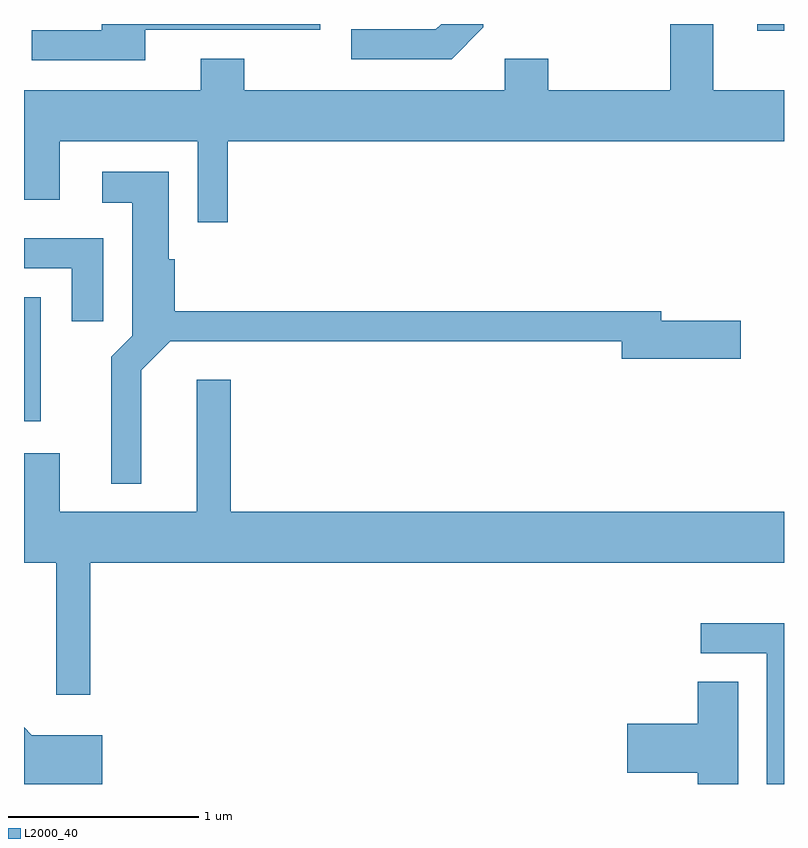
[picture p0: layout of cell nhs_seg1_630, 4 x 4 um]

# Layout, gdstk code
import gdstk
lib = gdstk.Library(unit=1e-6, precision=1e-09)
def R(c, l, rs):  # rectangles x0, y0, x1, y1
    for r in rs: c.add(gdstk.rectangle(r[:2], r[2:], *l))
def P(c, l, *ps):  # polygons
    for p in ps: c.add(gdstk.Polygon(p, *l))
L2000_40 = (2000, 40)

nhs_seg1_630 = lib.new_cell('nhs_seg1_630')
R(nhs_seg1_630, L2000_40, [(203.611,933.621,203.699,934.274), (207.471,935.676,207.611,935.712)])
P(nhs_seg1_630, L2000_40, [(204.684,935.096),(207.611,935.096),(207.611,935.364),(207.239,935.364),(207.239,935.712),(207.011,935.712),(207.011,935.364),(206.369,935.364),(206.369,935.529),(206.141,935.529),(206.141,935.364),(204.769,935.364),(204.769,935.529),(204.541,935.529),(204.541,935.364),(203.611,935.364),(203.611,934.786),(203.799,934.786),(203.799,935.096),(204.526,935.096),(204.526,934.668),(204.684,934.668)],
  [(204.249,935.681),(205.169,935.681),(205.169,935.712),(204.021,935.712),(204.021,935.679),(203.653,935.679),(203.653,935.521),(204.249,935.521)],
  [(206.029,935.694),(206.029,935.712),(205.807,935.712),(205.779,935.684),(205.333,935.684),(205.333,935.526),(205.862,935.526)],
  [(204.229,933.889),(204.382,934.041),(206.756,934.041),(206.756,933.951),(207.384,933.951),(207.384,934.149),(206.964,934.149),(206.964,934.199),(204.404,934.199),(204.404,934.474),(204.374,934.474),(204.374,934.934),(204.023,934.934),(204.023,934.771),(204.181,934.771),(204.181,934.072),(204.071,933.962),(204.071,933.293),(204.229,933.293)],
  [(204.029,934.584),(203.611,934.584),(203.611,934.426),(203.861,934.426),(203.861,934.148),(204.029,934.148)],
  [(203.959,932.876),(207.611,932.876),(207.611,933.144),(204.699,933.144),(204.699,933.839),(204.521,933.839),(204.521,933.144),(203.799,933.144),(203.799,933.454),(203.611,933.454),(203.611,932.876),(203.781,932.876),(203.781,932.181),(203.959,932.181)],
  [(207.611,932.559),(207.173,932.559),(207.173,932.401),(207.521,932.401),(207.521,931.712),(207.611,931.712)],
  [(207.369,932.249),(207.156,932.249),(207.156,932.029),(206.786,932.029),(206.786,931.771),(207.156,931.771),(207.156,931.712),(207.369,931.712)],
  [(204.024,931.969),(203.652,931.969),(203.611,932.01),(203.611,931.712),(204.024,931.712)])

lib.write_gds('nhs_seg1_630.gds')
